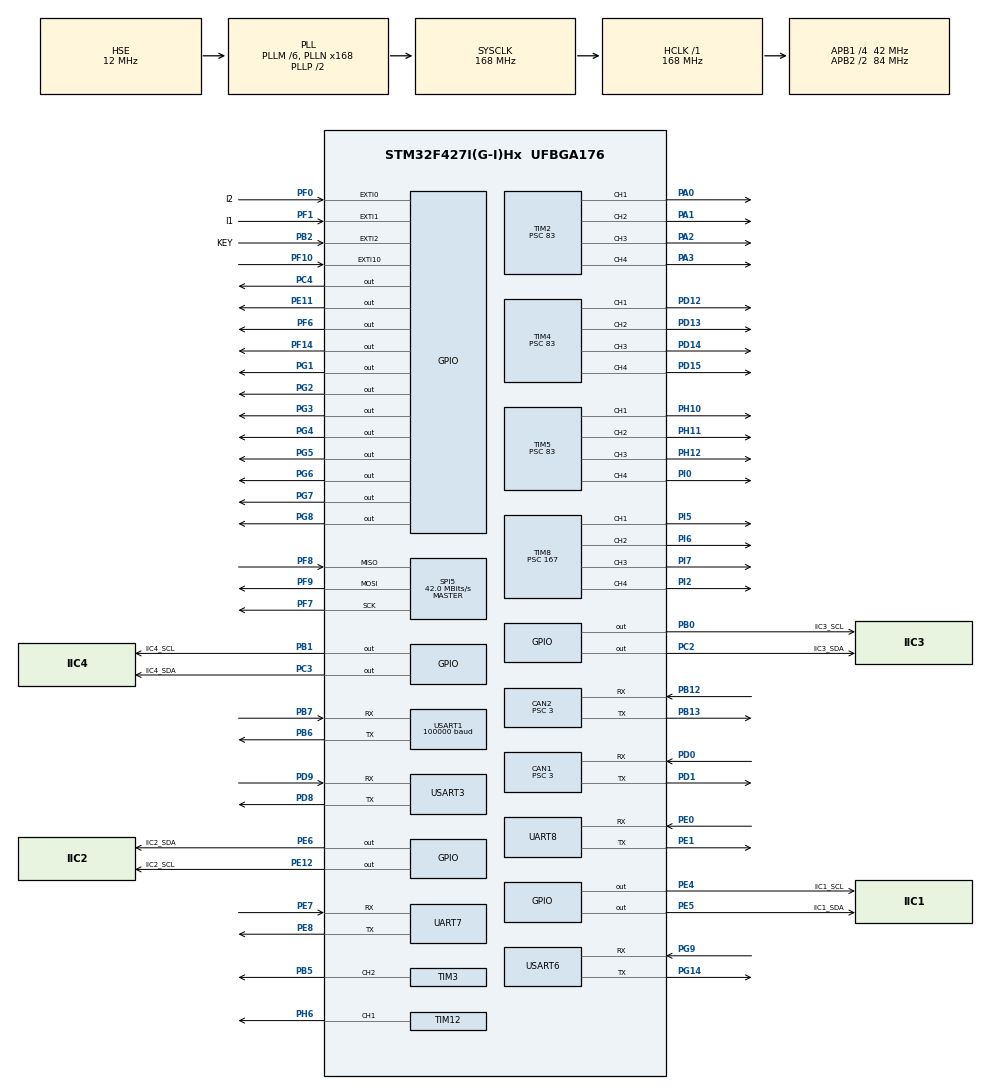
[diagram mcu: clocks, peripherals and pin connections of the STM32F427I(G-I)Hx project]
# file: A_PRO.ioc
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CAN1.BS1=CAN_BS1_10TQ
CAN1.BS2=CAN_BS2_3TQ
CAN1.CalculateBaudRate=1000000
CAN1.CalculateTimeBit=1000
CAN1.CalculateTimeQuantum=71.42857142857143
CAN1.Prescaler=3
CAN2.BS1=CAN_BS1_10TQ
CAN2.BS2=CAN_BS2_3TQ
CAN2.CalculateBaudRate=1000000
CAN2.CalculateTimeBit=1000
CAN2.CalculateTimeQuantum=71.42857142857143
CAN2.Prescaler=3
Dma.Request0=USART1_RX
Dma.Request1=USART6_RX
Dma.Request2=UART7_RX
Dma.Request3=UART8_RX
Dma.Request4=USART3_RX
Dma.UART7_RX.2.Direction=DMA_PERIPH_TO_MEMORY
Dma.UART7_RX.2.FIFOMode=DMA_FIFOMODE_DISABLE
Dma.UART7_RX.2.Instance=DMA1_Stream3
Dma.UART7_RX.2.MemDataAlignment=DMA_MDATAALIGN_BYTE
Dma.UART7_RX.2.MemInc=DMA_MINC_ENABLE
Dma.UART7_RX.2.Mode=DMA_NORMAL
Dma.UART7_RX.2.PeriphDataAlignment=DMA_PDATAALIGN_BYTE
Dma.UART7_RX.2.PeriphInc=DMA_PINC_DISABLE
Dma.UART7_RX.2.Priority=DMA_PRIORITY_LOW
Dma.UART8_RX.3.Direction=DMA_PERIPH_TO_MEMORY
Dma.UART8_RX.3.FIFOMode=DMA_FIFOMODE_DISABLE
Dma.UART8_RX.3.Instance=DMA1_Stream6
Dma.UART8_RX.3.MemDataAlignment=DMA_MDATAALIGN_BYTE
Dma.UART8_RX.3.MemInc=DMA_MINC_ENABLE
Dma.UART8_RX.3.Mode=DMA_NORMAL
Dma.UART8_RX.3.PeriphDataAlignment=DMA_PDATAALIGN_BYTE
Dma.UART8_RX.3.PeriphInc=DMA_PINC_DISABLE
Dma.UART8_RX.3.Priority=DMA_PRIORITY_LOW
Dma.USART1_RX.0.Direction=DMA_PERIPH_TO_MEMORY
Dma.USART1_RX.0.FIFOMode=DMA_FIFOMODE_DISABLE
Dma.USART1_RX.0.Instance=DMA2_Stream2
Dma.USART1_RX.0.MemDataAlignment=DMA_MDATAALIGN_BYTE
Dma.USART1_RX.0.MemInc=DMA_MINC_ENABLE
Dma.USART1_RX.0.Mode=DMA_CIRCULAR
Dma.USART1_RX.0.PeriphDataAlignment=DMA_PDATAALIGN_BYTE
Dma.USART1_RX.0.PeriphInc=DMA_PINC_DISABLE
Dma.USART1_RX.0.Priority=DMA_PRIORITY_VERY_HIGH
Dma.USART3_RX.4.Direction=DMA_PERIPH_TO_MEMORY
Dma.USART3_RX.4.FIFOMode=DMA_FIFOMODE_DISABLE
Dma.USART3_RX.4.Instance=DMA1_Stream1
Dma.USART3_RX.4.MemDataAlignment=DMA_MDATAALIGN_BYTE
Dma.USART3_RX.4.MemInc=DMA_MINC_ENABLE
Dma.USART3_RX.4.Mode=DMA_NORMAL
Dma.USART3_RX.4.PeriphDataAlignment=DMA_PDATAALIGN_BYTE
Dma.USART3_RX.4.PeriphInc=DMA_PINC_DISABLE
Dma.USART3_RX.4.Priority=DMA_PRIORITY_LOW
Dma.USART6_RX.1.Direction=DMA_PERIPH_TO_MEMORY
Dma.USART6_RX.1.FIFOMode=DMA_FIFOMODE_DISABLE
Dma.USART6_RX.1.Instance=DMA2_Stream1
Dma.USART6_RX.1.MemDataAlignment=DMA_MDATAALIGN_BYTE
Dma.USART6_RX.1.MemInc=DMA_MINC_ENABLE
Dma.USART6_RX.1.Mode=DMA_NORMAL
Dma.USART6_RX.1.PeriphDataAlignment=DMA_PDATAALIGN_BYTE
Dma.USART6_RX.1.PeriphInc=DMA_PINC_DISABLE
Dma.USART6_RX.1.Priority=DMA_PRIORITY_LOW
FREERTOS.Tasks01=defaultTask,0,128,StartDefaultTask,Default,NULL,Dynamic,NULL,NULL
Mcu.Family=STM32F4
Mcu.Name=STM32F427I(G-I)Hx
Mcu.Package=UFBGA176
NVIC.CAN1_RX0_IRQn=true\:5\:0\:false\:false\:true\:true\:true\:true\:true
NVIC.CAN2_RX0_IRQn=true\:5\:0\:false\:false\:true\:true\:true\:true\:true
NVIC.DMA1_Stream1_IRQn=true\:5\:0\:false\:false\:true\:true\:false\:true\:true
NVIC.DMA1_Stream3_IRQn=true\:5\:0\:false\:false\:true\:true\:false\:true\:true
NVIC.DMA1_Stream6_IRQn=true\:5\:0\:false\:false\:true\:true\:false\:true\:true
NVIC.DMA2_Stream1_IRQn=true\:5\:0\:false\:false\:true\:true\:false\:true\:true
NVIC.DMA2_Stream2_IRQn=true\:5\:0\:false\:false\:true\:true\:false\:true\:true
NVIC.EXTI0_IRQn=true\:5\:0\:false\:false\:true\:true\:true\:true\:true
NVIC.EXTI15_10_IRQn=true\:5\:0\:false\:false\:true\:true\:true\:true\:true
NVIC.EXTI1_IRQn=true\:5\:0\:false\:false\:true\:true\:true\:true\:true
NVIC.EXTI2_IRQn=true\:5\:0\:false\:false\:true\:true\:true\:true\:true
NVIC.PriorityGroup=NVIC_PRIORITYGROUP_4
NVIC.TIM8_UP_TIM13_IRQn=true\:15\:0\:false\:false\:true\:false\:false\:true\:true
NVIC.TimeBase=TIM8_UP_TIM13_IRQn
NVIC.TimeBaseIP=TIM13
NVIC.UART7_IRQn=true\:5\:0\:false\:false\:true\:true\:true\:true\:true
NVIC.UART8_IRQn=true\:5\:0\:false\:false\:true\:true\:true\:true\:true
NVIC.USART1_IRQn=true\:5\:0\:false\:false\:true\:true\:true\:true\:true
NVIC.USART3_IRQn=true\:5\:0\:false\:false\:true\:true\:true\:true\:true
NVIC.USART6_IRQn=true\:5\:0\:false\:false\:true\:true\:true\:true\:true
PA0/WKUP.Signal=S_TIM2_CH1_ETR
PA1.Signal=S_TIM2_CH2
PA13.Mode=Serial_Wire
PA13.Signal=SYS_JTMS-SWDIO
PA14.Mode=Serial_Wire
PA14.Signal=SYS_JTCK-SWCLK
PA2.Signal=S_TIM2_CH3
PA3.Signal=S_TIM2_CH4
PB0.GPIO_Label=IIC3_SCL
PB0.GPIO_ModeDefaultOutputPP=GPIO_MODE_OUTPUT_PP
PB0.GPIO_PuPd=GPIO_PULLUP
PB0.GPIO_Speed=GPIO_SPEED_FREQ_VERY_HIGH
PB0.Signal=GPIO_Output
PB1.GPIO_Label=IIC4_SCL
PB1.GPIO_ModeDefaultOutputPP=GPIO_MODE_OUTPUT_OD
PB1.GPIO_PuPd=GPIO_PULLUP
PB1.GPIO_Speed=GPIO_SPEED_FREQ_VERY_HIGH
PB1.Signal=GPIO_Output
PB12.Mode=CAN_Activate
PB12.Signal=CAN2_RX
PB13.Mode=CAN_Activate
PB13.Signal=CAN2_TX
PB2/BOOT1.GPIO_Label=KEY
PB2/BOOT1.GPIO_PuPd=GPIO_PULLUP
PB2/BOOT1.Signal=GPXTI2
PB5.Signal=S_TIM3_CH2
PB6.Mode=Asynchronous
PB6.Signal=USART1_TX
PB7.Mode=Asynchronous
PB7.Signal=USART1_RX
PC2.GPIO_Label=IIC3_SDA
PC2.GPIO_ModeDefaultOutputPP=GPIO_MODE_OUTPUT_PP
PC2.GPIO_PuPd=GPIO_NOPULL
PC2.GPIO_Speed=GPIO_SPEED_FREQ_VERY_HIGH
PC2.Signal=GPIO_Output
PC3.GPIO_Label=IIC4_SDA
PC3.GPIO_ModeDefaultOutputPP=GPIO_MODE_OUTPUT_PP
PC3.GPIO_PuPd=GPIO_NOPULL
PC3.GPIO_Speed=GPIO_SPEED_FREQ_VERY_HIGH
PC3.Signal=GPIO_Output
PC4.Signal=GPIO_Output
PD0.Mode=CAN_Activate
PD0.Signal=CAN1_RX
PD1.Mode=CAN_Activate
PD1.Signal=CAN1_TX
PD12.Signal=S_TIM4_CH1
PD13.Signal=S_TIM4_CH2
PD14.Signal=S_TIM4_CH3
PD15.Signal=S_TIM4_CH4
PD8.Mode=Asynchronous
PD8.Signal=USART3_TX
PD9.Mode=Asynchronous
PD9.Signal=USART3_RX
PE0.Mode=Asynchronous
PE0.Signal=UART8_RX
PE1.Mode=Asynchronous
PE1.Signal=UART8_TX
PE11.PinState=GPIO_PIN_SET
PE11.Signal=GPIO_Output
PE12.GPIO_Label=IIC2_SCL
PE12.GPIO_ModeDefaultOutputPP=GPIO_MODE_OUTPUT_OD
PE12.GPIO_PuPd=GPIO_PULLUP
PE12.GPIO_Speed=GPIO_SPEED_FREQ_VERY_HIGH
PE12.Signal=GPIO_Output
PE4.GPIO_Label=IIC1_SCL
PE4.GPIO_ModeDefaultOutputPP=GPIO_MODE_OUTPUT_OD
PE4.GPIO_PuPd=GPIO_PULLUP
PE4.GPIO_Speed=GPIO_SPEED_FREQ_VERY_HIGH
PE4.Signal=GPIO_Output
PE5.GPIO_Label=IIC1_SDA
PE5.GPIO_ModeDefaultOutputPP=GPIO_MODE_OUTPUT_PP
PE5.GPIO_PuPd=GPIO_NOPULL
PE5.GPIO_Speed=GPIO_SPEED_FREQ_VERY_HIGH
PE5.Signal=GPIO_Output
PE6.GPIO_Label=IIC2_SDA
PE6.GPIO_ModeDefaultOutputPP=GPIO_MODE_OUTPUT_PP
PE6.GPIO_PuPd=GPIO_NOPULL
PE6.GPIO_Speed=GPIO_SPEED_FREQ_VERY_HIGH
PE6.Signal=GPIO_Output
PE7.Mode=Asynchronous
PE7.Signal=UART7_RX
PE8.Mode=Asynchronous
PE8.Signal=UART7_TX
PF0.GPIO_Label=I2
PF0.GPIO_PuPd=GPIO_PULLUP
PF0.Signal=GPXTI0
PF1.GPIO_Label=I1
PF1.GPIO_PuPd=GPIO_PULLUP
PF1.Signal=GPXTI1
PF10.GPIO_PuPd=GPIO_PULLUP
PF10.Signal=GPXTI10
PF14.PinState=GPIO_PIN_SET
PF14.Signal=GPIO_Output
PF6.Signal=GPIO_Output
PF7.Mode=Full_Duplex_Master
PF7.Signal=SPI5_SCK
PF8.Mode=Full_Duplex_Master
PF8.Signal=SPI5_MISO
PF9.Mode=Full_Duplex_Master
PF9.Signal=SPI5_MOSI
PG1.PinState=GPIO_PIN_SET
PG1.Signal=GPIO_Output
PG14.Mode=Asynchronous
PG14.Signal=USART6_TX
PG2.PinState=GPIO_PIN_SET
PG2.Signal=GPIO_Output
PG3.PinState=GPIO_PIN_SET
PG3.Signal=GPIO_Output
PG4.PinState=GPIO_PIN_SET
PG4.Signal=GPIO_Output
PG5.PinState=GPIO_PIN_SET
PG5.Signal=GPIO_Output
PG6.PinState=GPIO_PIN_SET
PG6.Signal=GPIO_Output
PG7.PinState=GPIO_PIN_SET
PG7.Signal=GPIO_Output
PG8.PinState=GPIO_PIN_SET
PG8.Signal=GPIO_Output
PG9.Mode=Asynchronous
PG9.Signal=USART6_RX
PH0/OSC_IN.Mode=HSE-External-Oscillator
PH0/OSC_IN.Signal=RCC_OSC_IN
PH1/OSC_OUT.Mode=HSE-External-Oscillator
PH1/OSC_OUT.Signal=RCC_OSC_OUT
PH10.Signal=S_TIM5_CH1
PH11.Signal=S_TIM5_CH2
PH12.Signal=S_TIM5_CH3
PH6.Signal=S_TIM12_CH1
PI0.Signal=S_TIM5_CH4
PI2.Signal=S_TIM8_CH4
PI5.Signal=S_TIM8_CH1
PI6.Signal=S_TIM8_CH2
PI7.Signal=S_TIM8_CH3
ProjectManager.HeapSize=0x200
ProjectManager.StackSize=0x400
ProjectManager.TargetToolchain=MDK-ARM V5.32
RCC.48MHZClocksFreq_Value=84000000
RCC.AHBFreq_Value=168000000
RCC.APB1CLKDivider=RCC_HCLK_DIV4
RCC.APB1Freq_Value=42000000
RCC.APB1TimFreq_Value=84000000
RCC.APB2CLKDivider=RCC_HCLK_DIV2
RCC.APB2Freq_Value=84000000
RCC.APB2TimFreq_Value=168000000
RCC.CortexFreq_Value=168000000
RCC.HCLKFreq_Value=168000000
RCC.HSE_VALUE=12000000
RCC.HSI_VALUE=16000000
RCC.LSE_VALUE=32768
RCC.PLLM=6
RCC.PLLN=168
RCC.PLLSourceVirtual=RCC_PLLSOURCE_HSE
RCC.SYSCLKFreq_VALUE=168000000
RCC.SYSCLKSource=RCC_SYSCLKSOURCE_PLLCLK
RCC.VCOOutputFreq_Value=336000000
SH.S_TIM12_CH1.0=TIM12_CH1,PWM Generation1 CH1
SH.S_TIM2_CH1_ETR.0=TIM2_CH1,PWM Generation1 CH1
SH.S_TIM2_CH2.0=TIM2_CH2,PWM Generation2 CH2
SH.S_TIM2_CH3.0=TIM2_CH3,PWM Generation3 CH3
SH.S_TIM2_CH4.0=TIM2_CH4,PWM Generation4 CH4
SH.S_TIM3_CH2.0=TIM3_CH2,PWM Generation2 CH2
SH.S_TIM4_CH1.0=TIM4_CH1,PWM Generation1 CH1
SH.S_TIM4_CH2.0=TIM4_CH2,PWM Generation2 CH2
SH.S_TIM4_CH3.0=TIM4_CH3,PWM Generation3 CH3
SH.S_TIM4_CH4.0=TIM4_CH4,PWM Generation4 CH4
SH.S_TIM5_CH1.0=TIM5_CH1,PWM Generation1 CH1
SH.S_TIM5_CH2.0=TIM5_CH2,PWM Generation2 CH2
SH.S_TIM5_CH3.0=TIM5_CH3,PWM Generation3 CH3
SH.S_TIM5_CH4.0=TIM5_CH4,PWM Generation4 CH4
SH.S_TIM8_CH1.0=TIM8_CH1,PWM Generation1 CH1
SH.S_TIM8_CH2.0=TIM8_CH2,PWM Generation2 CH2
SH.S_TIM8_CH3.0=TIM8_CH3,PWM Generation3 CH3
SH.S_TIM8_CH4.0=TIM8_CH4,PWM Generation4 CH4
SPI5.CalculateBaudRate=42.0 MBits/s
SPI5.Direction=SPI_DIRECTION_2LINES
SPI5.Mode=SPI_MODE_MASTER
SPI5.VirtualType=VM_MASTER
TIM12.Channel-PWM\ Generation1\ CH1=TIM_CHANNEL_1
TIM2.Channel-PWM\ Generation1\ CH1=TIM_CHANNEL_1
TIM2.Channel-PWM\ Generation2\ CH2=TIM_CHANNEL_2
TIM2.Channel-PWM\ Generation3\ CH3=TIM_CHANNEL_3
TIM2.Channel-PWM\ Generation4\ CH4=TIM_CHANNEL_4
TIM2.Prescaler=83
TIM3.Channel-PWM\ Generation2\ CH2=TIM_CHANNEL_2
TIM4.Channel-PWM\ Generation1\ CH1=TIM_CHANNEL_1
TIM4.Channel-PWM\ Generation2\ CH2=TIM_CHANNEL_2
TIM4.Channel-PWM\ Generation3\ CH3=TIM_CHANNEL_3
TIM4.Channel-PWM\ Generation4\ CH4=TIM_CHANNEL_4
TIM4.Prescaler=83
TIM5.Channel-PWM\ Generation1\ CH1=TIM_CHANNEL_1
TIM5.Channel-PWM\ Generation2\ CH2=TIM_CHANNEL_2
TIM5.Channel-PWM\ Generation3\ CH3=TIM_CHANNEL_3
TIM5.Channel-PWM\ Generation4\ CH4=TIM_CHANNEL_4
TIM5.Prescaler=83
TIM8.Channel-PWM\ Generation1\ CH1=TIM_CHANNEL_1
TIM8.Channel-PWM\ Generation2\ CH2=TIM_CHANNEL_2
TIM8.Channel-PWM\ Generation3\ CH3=TIM_CHANNEL_3
TIM8.Channel-PWM\ Generation4\ CH4=TIM_CHANNEL_4
TIM8.Prescaler=167
UART7.VirtualMode=Asynchronous
UART8.VirtualMode=Asynchronous
USART1.BaudRate=100000
USART1.Parity=PARITY_EVEN
USART1.VirtualMode=VM_ASYNC
USART3.VirtualMode=VM_ASYNC
USART6.VirtualMode=VM_ASYNC
VP_FREERTOS_VS_CMSIS_V1.Mode=CMSIS_V1
VP_SYS_VS_tim13.Mode=TIM13
VP_TIM12_VS_ClockSourceINT.Mode=Internal
VP_TIM2_VS_ClockSourceINT.Mode=Internal
VP_TIM3_VS_ClockSourceINT.Mode=Internal
VP_TIM4_VS_ClockSourceINT.Mode=Internal
VP_TIM5_VS_ClockSourceINT.Mode=Internal
VP_TIM8_VS_ClockSourceINT.Mode=Internal
board=custom

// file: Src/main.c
/* USER CODE BEGIN Header */
/**
  ******************************************************************************
  * @file           : main.c
  * @brief          : Main program body
  ******************************************************************************
  * @attention
  *
  * Copyright (c) 2023 STMicroelectronics.
  * All rights reserved.
  *
  * This software is licensed under terms that can be found in the LICENSE file
  * in the root directory of this software component.
  * If no LICENSE file comes with this software, it is provided AS-IS.
  *
  ******************************************************************************
  */
/* USER CODE END Header */
#include "main.h"
#include "cmsis_os.h"
#include "can.h"
#include "dma.h"
#include "spi.h"
#include "tim.h"
#include "usart.h"
#include "gpio.h"

/* USER CODE BEGIN Includes */
#include "led_bsp.h"
#include "exit_bsp.h"
#include "buzzer_bsp.h"
#include "pwm_bsp.h"
#include "can_bsp.h"
#include "rc_bsp.h"
#include "usart_bsp.h"
#include "iic_bsp.h"
#include "imu_bsp.h"
#include "chassis.h"
#include "delay_bsp.h"
#include "as5600.h"
#include "task_user.h"
/* USER CODE END Includes */

void SystemClock_Config(void);
void MX_FREERTOS_Init(void);

int main(void)
{

    /* MCU Configuration--------------------------------------------------------*/

    /* Reset of all peripherals, Initializes the Flash interface and the Systick. */
    HAL_Init();

    /* Configure the system clock */
    SystemClock_Config();

    /* Initialize all configured peripherals */
    MX_GPIO_Init();
    MX_DMA_Init();
    MX_TIM12_Init();
    MX_TIM2_Init();
    MX_TIM4_Init();
    MX_TIM5_Init();
    MX_TIM8_Init();
    MX_UART7_Init();
    MX_UART8_Init();
    MX_USART3_UART_Init();
    MX_USART6_UART_Init();
    MX_CAN1_Init();
    MX_CAN2_Init();
    MX_USART1_UART_Init();
    MX_SPI5_Init();
    MX_TIM3_Init();
    /* USER CODE BEGIN 2 */
    can_filter_init();
    remote_control_init();
    imu_init();
    chassis_init();
    //PID_init(can2_14_speed);
    //PID_init(can2_58_speed);
    PID_init(can1_14_speed);
    PWM_init(&htim5);
    BeginWarnBuzzer();
    LED_ON();

    startTast(); // 创建任务
    /* USER CODE END 2 */

    /* Call init function for freertos objects (in freertos.c) */
    MX_FREERTOS_Init();

    /* Start scheduler */
    osKernelStart();

    /* We should never get here as control is now taken by the scheduler */
    /* Infinite loop */
    while (1)
    {

    }
}

void SystemClock_Config(void)
{
    RCC_OscInitTypeDef RCC_OscInitStruct = {0};
    RCC_ClkInitTypeDef RCC_ClkInitStruct = {0};

    /** Configure the main internal regulator output voltage
    */
    __HAL_RCC_PWR_CLK_ENABLE();
    __HAL_PWR_VOLTAGESCALING_CONFIG(PWR_REGULATOR_VOLTAGE_SCALE1);

    /** Initializes the RCC Oscillators according to the specified parameters
    * in the RCC_OscInitTypeDef structure.
    */
    RCC_OscInitStruct.OscillatorType = RCC_OSCILLATORTYPE_HSE;
    RCC_OscInitStruct.HSEState = RCC_HSE_ON;
    RCC_OscInitStruct.PLL.PLLState = RCC_PLL_ON;
    RCC_OscInitStruct.PLL.PLLSource = RCC_PLLSOURCE_HSE;
    RCC_OscInitStruct.PLL.PLLM = 6;
    RCC_OscInitStruct.PLL.PLLN = 168;
    RCC_OscInitStruct.PLL.PLLP = RCC_PLLP_DIV2;
    RCC_OscInitStruct.PLL.PLLQ = 4;
    if (HAL_RCC_OscConfig(&RCC_OscInitStruct) != HAL_OK)
    {
        Error_Handler();
    }

    /** Initializes the CPU, AHB and APB buses clocks
    */
    RCC_ClkInitStruct.ClockType = RCC_CLOCKTYPE_HCLK|RCC_CLOCKTYPE_SYSCLK
                                  |RCC_CLOCKTYPE_PCLK1|RCC_CLOCKTYPE_PCLK2;
    RCC_ClkInitStruct.SYSCLKSource = RCC_SYSCLKSOURCE_PLLCLK;
    RCC_ClkInitStruct.AHBCLKDivider = RCC_SYSCLK_DIV1;
    RCC_ClkInitStruct.APB1CLKDivider = RCC_HCLK_DIV4;
    RCC_ClkInitStruct.APB2CLKDivider = RCC_HCLK_DIV2;

    if (HAL_RCC_ClockConfig(&RCC_ClkInitStruct, FLASH_LATENCY_5) != HAL_OK)
    {
        Error_Handler();
    }
}

/* USER CODE BEGIN 4 */
/**
  * @brief  This function is executed in case of error occurrence.
  * @param  file: The file name as string.
  * @param  line: The line in file as a number.
  * @retval None
  */
void _Error_Handler(char *file, int line)
{
    /* USER CODE BEGIN Error_Handler_Debug */
    /* User can add his own implementation to report the HAL error return state */
    while(1)
    {
    }
    /* USER CODE END Error_Handler_Debug */
}
/* USER CODE END 4 */

void HAL_TIM_PeriodElapsedCallback(TIM_HandleTypeDef *htim)
{
    if (htim->Instance == TIM13) {
        HAL_IncTick();
    }
}

void Error_Handler(void)
{
    while(1)
    {
    }
}

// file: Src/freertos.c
/* USER CODE BEGIN Header */
/**
  ******************************************************************************
  * File Name          : freertos.c
  * Description        : Code for freertos applications
  ******************************************************************************
  * @attention
  *
  * Copyright (c) 2023 STMicroelectronics.
  * All rights reserved.
  *
  * This software is licensed under terms that can be found in the LICENSE file
  * in the root directory of this software component.
  * If no LICENSE file comes with this software, it is provided AS-IS.
  *
  ******************************************************************************
  */
/* USER CODE END Header */

#include "FreeRTOS.h"
#include "task.h"
#include "main.h"
#include "cmsis_os.h"

osThreadId defaultTaskHandle;

void StartDefaultTask(void const * argument);

void MX_FREERTOS_Init(void); /* (MISRA C 2004 rule 8.1) */

/* GetIdleTaskMemory prototype (linked to static allocation support) */
void vApplicationGetIdleTaskMemory( StaticTask_t **ppxIdleTaskTCBBuffer, StackType_t **ppxIdleTaskStackBuffer, uint32_t *pulIdleTaskStackSize );

/* USER CODE BEGIN GET_IDLE_TASK_MEMORY */
static StaticTask_t xIdleTaskTCBBuffer;
static StackType_t xIdleStack[configMINIMAL_STACK_SIZE];

void vApplicationGetIdleTaskMemory( StaticTask_t **ppxIdleTaskTCBBuffer, StackType_t **ppxIdleTaskStackBuffer, uint32_t *pulIdleTaskStackSize )
{
    *ppxIdleTaskTCBBuffer = &xIdleTaskTCBBuffer;
    *ppxIdleTaskStackBuffer = &xIdleStack[0];
    *pulIdleTaskStackSize = configMINIMAL_STACK_SIZE;
    /* place for user code */
}
/* USER CODE END GET_IDLE_TASK_MEMORY */

void MX_FREERTOS_Init(void) {

    /* Create the thread(s) */
    /* definition and creation of defaultTask */
    osThreadDef(defaultTask, StartDefaultTask, osPriorityNormal, 0, 128);
    defaultTaskHandle = osThreadCreate(osThread(defaultTask), NULL);

}

void StartDefaultTask(void const * argument)
{
    for(;;)
    {
        osDelay(1);
    }
}
